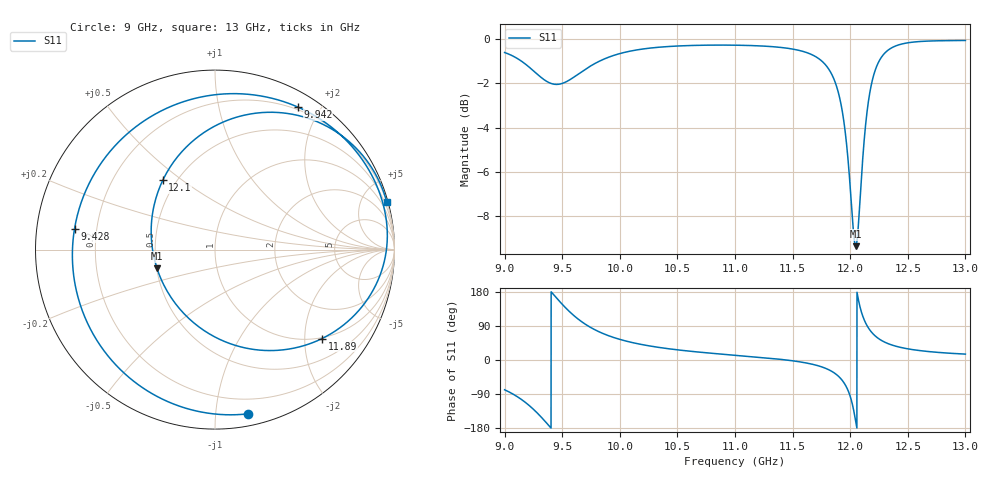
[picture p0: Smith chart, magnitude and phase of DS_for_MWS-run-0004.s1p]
! TOUCHSTONE file generated by CST DESIGN STUDIO
! Date and time: Tue Feb  4 17:09:35 2025
! Project name: C:\Work\MatlabApps\UnitCellOptimizationMatlab\CST\unitcell.cst
! Tree item: Tasks\Sweep1\SPara1\S-Parameters
! Header version: 2024
! Port assignment regex: !\s*Touchstone port\s*([0-9]+)\s*=\s*(CST MWS port|CST DES external port|CST DES block port)\s*(.+)\s* \(\"(.*)\"\)(\s*mode\s*([0-9]+))?.*
! Touchstone port assignment:
! Touchstone port 1 = CST DES external port 1 ("")
# GHz S MA R 50
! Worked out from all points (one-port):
!   4001 points, 9 GHz to 13 GHz, reference 50 ohm
!   lowest |S11| = -9.4 dB at 12.05 GHz (marker M1), VSWR 2.03, Z = 25.1 - j5.85 ohm
!   |S11| at or under -10 dB: nowhere
!   S11 on the Smith chart (normalised r, x): 9 GHz: 0.09, -1.22; 9.428 GHz: 0.12, +0.07; 9.942 GHz: 0.17, +1.72; 11.89 GHz: 0.98, -2.43; 12.1 GHz: 0.42, +0.42; 13 GHz: 0.16, +7.33
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9  0.9334 -78.6
9.12  0.9015 -98.7
9.217  0.8632 -121.0
9.333  0.8135 -155.7
9.428  0.7912 171.6
9.5  0.7943 147.1
9.587  0.8162 121.0
9.679  0.8477 98.9
9.808  0.8881 76.2
9.942  0.9185 59.9
10  0.9282 54.4
10.216  0.9519 39.4
10.5  0.9656 26.8
11  0.9698 12.6
11.5  0.9504 -2.1
11.748  0.8952 -17.7
11.886  0.7757 -39.7
11.954  0.6252 -64.0
12  0.4626 -95.8
12.048  0.3397 -162.3
12.072  0.3822 158.0
12.097  0.4833 127.1
12.143  0.6738 92.4
12.196  0.815 69.7
12.251  0.8927 55.5
12.315  0.9386 45.0
12.5  0.9819 29.5
13  0.994 15.5
